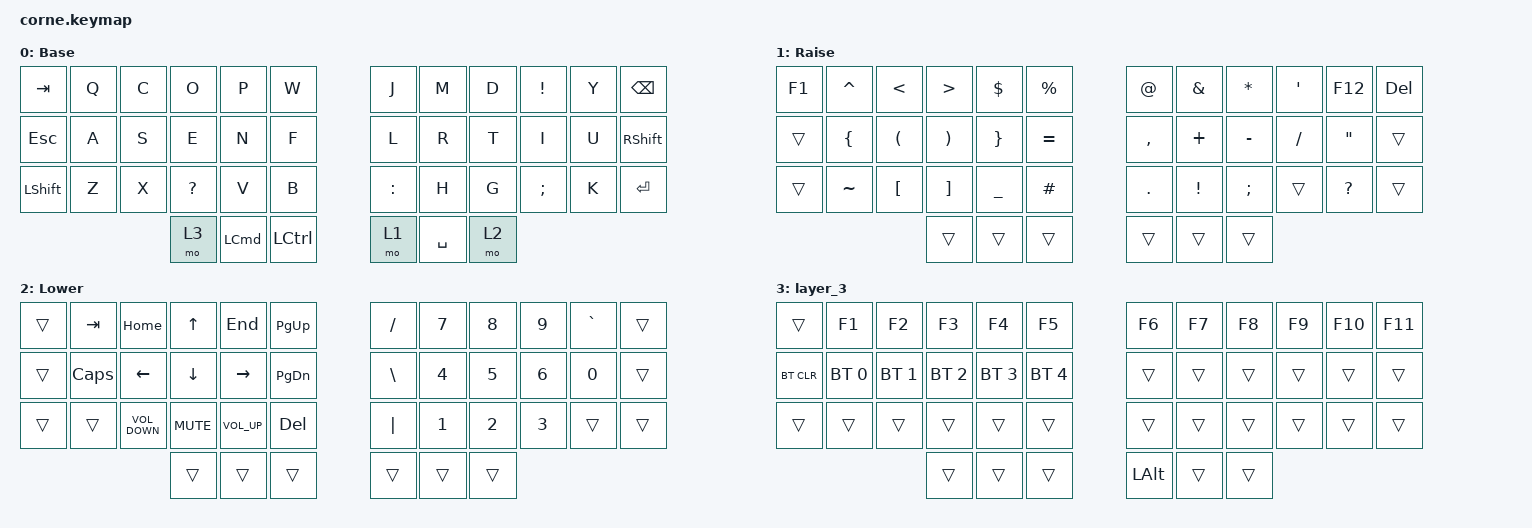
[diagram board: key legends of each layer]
/*
 * Copyright (c) 2020 The ZMK Contributors
 *
 * SPDX-License-Identifier: MIT
 */

#include <behaviors.dtsi>
#include <dt-bindings/zmk/bt.h>
#include <dt-bindings/zmk/keys.h>

/ {
    per_col: period_colon {
        label = "PERIOD_COLON";
        compatible = "zmk,behavior-mod-morph";
        #binding-cells = <0>;
        bindings = <&kp COLON>, <&kp DOT>;
  // Swapped COLON and DOT
        mods = <(MOD_LSFT|MOD_RSFT)>;
    };

    com_semi: comma_semicolon {
        label = "COMMA_SEMICOLON";
        compatible = "zmk,behavior-mod-morph";
        #binding-cells = <0>;
        bindings = <&kp COMMA>, <&kp SEMICOLON>;

        mods = <(MOD_LSFT|MOD_RSFT)>;
    };

    behaviors {
    };

    keymap {
        compatible = "zmk,keymap";

        default_layer {
            // -----------------------------------------------------------------------------------------
            // |  TAB |  Q  |  W  |  E  |  R  |  T  |   |  Y  |  U   |  I  |  O  |  P  | BKSP |
            // | CTRL |  A  |  S  |  D  |  F  |  G  |   |  H  |  J   |  K  |  L  |  ;  |  '   |
            // | SHFT |  Z  |  X  |  C  |  V  |  B  |   |  N  |  M   |  ,  |  .  |  /  | ESC  |
            //                    | GUI | LWR | SPC |   | ENT | RSE  | ALT |

            display-name = "Base";
            bindings = <
&kp TAB     &kp Q  &kp C  &kp O         &kp P             &kp W        &kp J      &kp M      &kp D  &kp EXCLAMATION  &kp Y  &kp BSPC
&kp ESCAPE  &kp A  &kp S  &kp E         &kp N             &kp F        &kp L      &kp R      &kp T  &kp I            &kp U  &kp RIGHT_SHIFT
&kp LSHFT   &kp Z  &kp X  &kp QUESTION  &kp V             &kp B        &kp COLON  &kp H      &kp G  &kp SEMI         &kp K  &kp ENTER
                          &mo 3         &kp LEFT_COMMAND  &kp LCTRL    &mo 1      &kp SPACE  &mo 2
            >;
        };

        raise_layer {
            // -----------------------------------------------------------------------------------------
            // |  TAB |  !  |  @  |  #  |  $  |  %  |   |  ^  |  &  |  *  |  (  |  )  | BKSP |
            // | CTRL |     |     |     |     |     |   |  -  |  =  |  [  |  ]  |  \  |  `   |
            // | SHFT |     |     |     |     |     |   |  _  |  +  |  {  |  }  | "|" |  ~   |
            //                    | GUI |     | SPC |   | ENT |     | ALT |

            display-name = "Raise";
            bindings = <
&kp F1  &kp CARET       &kp LESS_THAN         &kp GREATER_THAN       &kp DLLR         &kp PRCNT    &kp AT_SIGN  &kp AMPS         &kp ASTERISK   &kp SQT    &kp F12            &kp DELETE
&trans  &kp LEFT_BRACE  &kp LEFT_PARENTHESIS  &kp RIGHT_PARENTHESIS  &kp RIGHT_BRACE  &kp EQUAL    &kp COMMA    &kp PLUS         &kp MINUS      &kp SLASH  &kp DOUBLE_QUOTES  &trans
&trans  &kp TILDE       &kp LEFT_BRACKET      &kp RIGHT_BRACKET      &kp UNDER        &kp HASH     &kp PERIOD   &kp EXCLAMATION  &kp SEMICOLON  &trans     &kp QUESTION       &trans
                                              &trans                 &trans           &trans       &trans       &trans           &trans
            >;
        };

        lower_layer {
            // -----------------------------------------------------------------------------------------
            // |  TAB |  1  |  2  |  3  |  4  |  5  |   |  6  |  7  |  8  |  9  |  0  | BKSP |
            // | BTCLR| BT1 | BT2 | BT3 | BT4 | BT5 |   | LFT | DWN |  UP | RGT |     |      |
            // | SHFT |     |     |     |     |     |   |     |     |     |     |     |      |
            //                    | GUI |     | SPC |   | ENT |     | ALT |

            display-name = "Lower";
            bindings = <
&trans  &kp TAB       &kp HOME           &kp UP_ARROW  &kp END          &kp PAGE_UP      &kp SLASH      &kp N7        &kp N8        &kp N9        &kp GRAVE  &trans
&trans  &kp CAPSLOCK  &kp LEFT           &kp DOWN      &kp RIGHT        &kp PAGE_DOWN    &kp BACKSLASH  &kp NUMBER_4  &kp NUMBER_5  &kp NUMBER_6  &kp N0     &trans
&trans  &trans        &kp C_VOLUME_DOWN  &kp K_MUTE    &kp C_VOLUME_UP  &kp DEL          &kp PIPE       &kp NUMBER_1  &kp NUMBER_2  &kp NUMBER_3  &trans     &trans
                                         &trans        &trans           &trans           &trans         &trans        &trans
            >;
        };

        layer_3 {
            bindings = <
&trans      &kp F1        &kp F2        &kp F3        &kp F4        &kp F5          &kp F6        &kp F7  &kp F8  &kp F9  &kp F10  &kp F11
&bt BT_CLR  &bt BT_SEL 0  &bt BT_SEL 1  &bt BT_SEL 2  &bt BT_SEL 3  &bt BT_SEL 4    &trans        &trans  &trans  &trans  &trans   &trans
&trans      &trans        &trans        &trans        &trans        &trans          &trans        &trans  &trans  &trans  &trans   &trans
                                        &trans        &trans        &trans          &kp LEFT_ALT  &trans  &trans
            >;
        };
    };

    conditional_layers { compatible = "zmk,conditional-layers"; };
};
